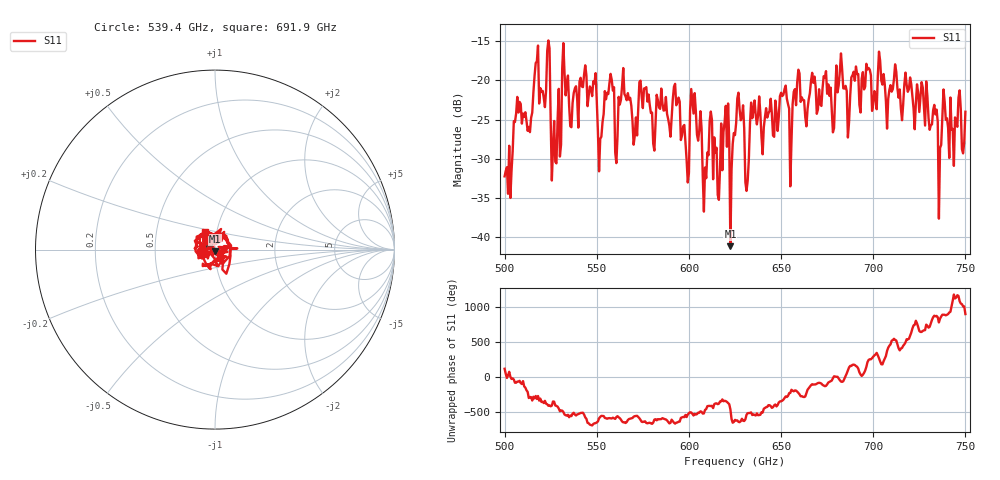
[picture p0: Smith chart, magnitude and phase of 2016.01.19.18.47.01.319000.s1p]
!Created with skrf (http://scikit-rf.org).
# GHz S RI R 50.0
!freq ReS11 ImS11
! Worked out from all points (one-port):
!   401 points, 500 GHz to 750 GHz, reference 50 ohm
!   lowest |S11| = -41.1 dB at 622.5 GHz (marker M1), VSWR 1.02, Z = 49.8 - j0.86 ohm
!   |S11| at or under -10 dB: start of sweep to end of sweep
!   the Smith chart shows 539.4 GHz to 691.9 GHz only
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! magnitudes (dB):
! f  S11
! 500 GHz  -32.2
! 507.5 GHz  -24.1
! 513.8 GHz  -26.6
! 516.9 GHz  -17.8
! 523.8 GHz  -14.9
! 526.9 GHz  -25.2
! 531.2 GHz  -18.5
! 548.1 GHz  -20.1
! 551.9 GHz  -27.4
! 556.9 GHz  -20.4
! 562.5 GHz  -23.1
! 593.8 GHz  -22.8
! 598.8 GHz  -30.1
! 602.5 GHz  -24.2
! 608.8 GHz  -31.1
! 611.2 GHz  -25.2
! 622.5 GHz  -41.1
! 625 GHz  -27.0
! 628.1 GHz  -25.1
! 631.2 GHz  -34.1
! 635 GHz  -23.8
! 656.2 GHz  -23.1
! 658.8 GHz  -20.2
! 687.5 GHz  -22.0
! 718.8 GHz  -21.5
! 736.2 GHz  -28.6
! 738.8 GHz  -22.7
! 750 GHz  -24.0
